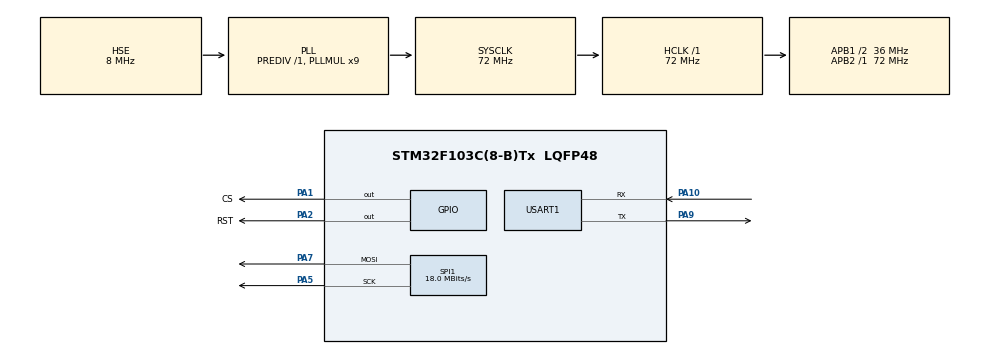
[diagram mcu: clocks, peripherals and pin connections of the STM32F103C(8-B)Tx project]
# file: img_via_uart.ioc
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Dma.Request0=SPI1_TX
Dma.SPI1_TX.0.Direction=DMA_MEMORY_TO_PERIPH
Dma.SPI1_TX.0.Instance=DMA1_Channel3
Dma.SPI1_TX.0.MemDataAlignment=DMA_MDATAALIGN_BYTE
Dma.SPI1_TX.0.MemInc=DMA_MINC_ENABLE
Dma.SPI1_TX.0.Mode=DMA_NORMAL
Dma.SPI1_TX.0.PeriphDataAlignment=DMA_PDATAALIGN_BYTE
Dma.SPI1_TX.0.PeriphInc=DMA_PINC_DISABLE
Dma.SPI1_TX.0.Priority=DMA_PRIORITY_LOW
Mcu.Family=STM32F1
Mcu.Name=STM32F103C(8-B)Tx
Mcu.Package=LQFP48
NVIC.DMA1_Channel3_IRQn=true\:0\:0\:false\:false\:true\:false\:true\:true
NVIC.PriorityGroup=NVIC_PRIORITYGROUP_4
NVIC.SPI1_IRQn=true\:0\:0\:false\:false\:true\:true\:true\:true
NVIC.USART1_IRQn=true\:0\:0\:false\:false\:true\:true\:true\:true
PA1.GPIO_Label=CS
PA1.Signal=GPIO_Output
PA10.Mode=Asynchronous
PA10.Signal=USART1_RX
PA13.Mode=Serial_Wire
PA13.Signal=SYS_JTMS-SWDIO
PA14.Mode=Serial_Wire
PA14.Signal=SYS_JTCK-SWCLK
PA2.GPIO_Label=RST
PA2.Signal=GPIO_Output
PA5.Mode=TX_Only_Simplex_Unidirect_Master
PA5.Signal=SPI1_SCK
PA7.Mode=TX_Only_Simplex_Unidirect_Master
PA7.Signal=SPI1_MOSI
PA9.Mode=Asynchronous
PA9.Signal=USART1_TX
PD0-OSC_IN.Mode=HSE-External-Oscillator
PD0-OSC_IN.Signal=RCC_OSC_IN
PD1-OSC_OUT.Mode=HSE-External-Oscillator
PD1-OSC_OUT.Signal=RCC_OSC_OUT
ProjectManager.HeapSize=0x200
ProjectManager.StackSize=0x400
ProjectManager.TargetToolchain=CMake
RCC.AHBFreq_Value=72000000
RCC.APB1CLKDivider=RCC_HCLK_DIV2
RCC.APB1Freq_Value=36000000
RCC.APB1TimFreq_Value=72000000
RCC.APB2Freq_Value=72000000
RCC.APB2TimFreq_Value=72000000
RCC.HCLKFreq_Value=72000000
RCC.PLLMUL=RCC_PLL_MUL9
RCC.PLLSourceVirtual=RCC_PLLSOURCE_HSE
RCC.SYSCLKFreq_VALUE=72000000
RCC.SYSCLKSource=RCC_SYSCLKSOURCE_PLLCLK
RCC.USBFreq_Value=72000000
SPI1.BaudRatePrescaler=SPI_BAUDRATEPRESCALER_4
SPI1.CLKPhase=SPI_PHASE_2EDGE
SPI1.CLKPolarity=SPI_POLARITY_HIGH
SPI1.CalculateBaudRate=18.0 MBits/s
SPI1.Direction=SPI_DIRECTION_2LINES
SPI1.Mode=SPI_MODE_MASTER
SPI1.VirtualType=VM_MASTER
USART1.VirtualMode=VM_ASYNC
board=custom

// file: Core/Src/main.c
/* USER CODE BEGIN Header */
/**
  ******************************************************************************
  * @file           : main.c
  * @brief          : Main program body
  ******************************************************************************
  * @attention
  *
  * Copyright (c) 2024 STMicroelectronics.
  * All rights reserved.
  *
  * This software is licensed under terms that can be found in the LICENSE file
  * in the root directory of this software component.
  * If no LICENSE file comes with this software, it is provided AS-IS.
  *
  ******************************************************************************
  */
/* USER CODE END Header */
#include "main.h"

/* USER CODE BEGIN Includes */

#include "ST7920_lib.h"
#include "logo.h"

extern char tx_buffer[128];

/* USER CODE END Includes */

SPI_HandleTypeDef hspi1;
DMA_HandleTypeDef hdma_spi1_tx;

UART_HandleTypeDef huart1;

/* USER CODE BEGIN PV */

uint8_t uart_rx_buffer[1024];
volatile bool should_draw = false;

/* USER CODE END PV */

void SystemClock_Config(void);
static void MX_GPIO_Init(void);
static void MX_DMA_Init(void);
static void MX_SPI1_Init(void);
static void MX_USART1_UART_Init(void);

/* USER CODE BEGIN 0 */

void clear_screen() {
  ST7920_Draw_rectangle_filled(0, 0, 127, 63);
}

void print_on_x_center(uint8_t y, const char *str) {
  int len = 0;
  const char *s = str;

  //Calculate UTF8-aware string length
  while (*s) {
    if ((*s & 0xC0) != 0x80) {
      len++;
    }

    s++;
  }

  sprintf(tx_buffer, "%s", str);
  ST7920_Decode_UTF8(64 - len * 3, y, 1, tx_buffer);
}

/* USER CODE END 0 */

int main(void)
{

  /* MCU Configuration--------------------------------------------------------*/

  /* Reset of all peripherals, Initializes the Flash interface and the Systick. */
  HAL_Init();

  /* Configure the system clock */
  SystemClock_Config();

  /* Initialize all configured peripherals */
  MX_GPIO_Init();
  MX_DMA_Init();
  MX_SPI1_Init();
  MX_USART1_UART_Init();
  /* USER CODE BEGIN 2 */

  HAL_Delay(100);
  ST7920_Init();
  ST7920_Graphic_mode(1);

  draw_logo();

  clear_screen();
  print_on_x_center(2, "Ожидание команд");
  print_on_x_center(3, "по UART");
  ST7920_Update();

  HAL_UART_Receive_IT(&huart1, uart_rx_buffer, 1024);

  /* USER CODE END 2 */

  /* Infinite loop */
  /* USER CODE BEGIN WHILE */
  while (1)
  {
	  if (should_draw) {
		  ST7920_Draw_bitmap(uart_rx_buffer);
		  should_draw = false;
		  HAL_UART_Receive_IT(&huart1, uart_rx_buffer, 1024);
	  }
    /* USER CODE END WHILE */

  }
}

void SystemClock_Config(void)
{
  RCC_OscInitTypeDef RCC_OscInitStruct = {0};
  RCC_ClkInitTypeDef RCC_ClkInitStruct = {0};

  /** Initializes the RCC Oscillators according to the specified parameters
  * in the RCC_OscInitTypeDef structure.
  */
  RCC_OscInitStruct.OscillatorType = RCC_OSCILLATORTYPE_HSE;
  RCC_OscInitStruct.HSEState = RCC_HSE_ON;
  RCC_OscInitStruct.HSEPredivValue = RCC_HSE_PREDIV_DIV1;
  RCC_OscInitStruct.HSIState = RCC_HSI_ON;
  RCC_OscInitStruct.PLL.PLLState = RCC_PLL_ON;
  RCC_OscInitStruct.PLL.PLLSource = RCC_PLLSOURCE_HSE;
  RCC_OscInitStruct.PLL.PLLMUL = RCC_PLL_MUL9;
  if (HAL_RCC_OscConfig(&RCC_OscInitStruct) != HAL_OK)
  {
    Error_Handler();
  }

  /** Initializes the CPU, AHB and APB buses clocks
  */
  RCC_ClkInitStruct.ClockType = RCC_CLOCKTYPE_HCLK|RCC_CLOCKTYPE_SYSCLK
                              |RCC_CLOCKTYPE_PCLK1|RCC_CLOCKTYPE_PCLK2;
  RCC_ClkInitStruct.SYSCLKSource = RCC_SYSCLKSOURCE_PLLCLK;
  RCC_ClkInitStruct.AHBCLKDivider = RCC_SYSCLK_DIV1;
  RCC_ClkInitStruct.APB1CLKDivider = RCC_HCLK_DIV2;
  RCC_ClkInitStruct.APB2CLKDivider = RCC_HCLK_DIV1;

  if (HAL_RCC_ClockConfig(&RCC_ClkInitStruct, FLASH_LATENCY_2) != HAL_OK)
  {
    Error_Handler();
  }
}

static void MX_SPI1_Init(void)
{

  /* SPI1 parameter configuration*/
  hspi1.Instance = SPI1;
  hspi1.Init.Mode = SPI_MODE_MASTER;
  hspi1.Init.Direction = SPI_DIRECTION_2LINES;
  hspi1.Init.DataSize = SPI_DATASIZE_8BIT;
  hspi1.Init.CLKPolarity = SPI_POLARITY_HIGH;
  hspi1.Init.CLKPhase = SPI_PHASE_2EDGE;
  hspi1.Init.NSS = SPI_NSS_SOFT;
  hspi1.Init.BaudRatePrescaler = SPI_BAUDRATEPRESCALER_4;
  hspi1.Init.FirstBit = SPI_FIRSTBIT_MSB;
  hspi1.Init.TIMode = SPI_TIMODE_DISABLE;
  hspi1.Init.CRCCalculation = SPI_CRCCALCULATION_DISABLE;
  hspi1.Init.CRCPolynomial = 10;
  if (HAL_SPI_Init(&hspi1) != HAL_OK)
  {
    Error_Handler();
  }

}

static void MX_USART1_UART_Init(void)
{

  huart1.Instance = USART1;
  huart1.Init.BaudRate = 115200;
  huart1.Init.WordLength = UART_WORDLENGTH_8B;
  huart1.Init.StopBits = UART_STOPBITS_1;
  huart1.Init.Parity = UART_PARITY_NONE;
  huart1.Init.Mode = UART_MODE_TX_RX;
  huart1.Init.HwFlowCtl = UART_HWCONTROL_NONE;
  huart1.Init.OverSampling = UART_OVERSAMPLING_16;
  if (HAL_UART_Init(&huart1) != HAL_OK)
  {
    Error_Handler();
  }

}

static void MX_DMA_Init(void)
{

  /* DMA controller clock enable */
  __HAL_RCC_DMA1_CLK_ENABLE();

  /* DMA interrupt init */
  /* DMA1_Channel3_IRQn interrupt configuration */
  HAL_NVIC_SetPriority(DMA1_Channel3_IRQn, 0, 0);
  HAL_NVIC_EnableIRQ(DMA1_Channel3_IRQn);

}

static void MX_GPIO_Init(void)
{
  GPIO_InitTypeDef GPIO_InitStruct = {0};

  /* GPIO Ports Clock Enable */
  __HAL_RCC_GPIOD_CLK_ENABLE();
  __HAL_RCC_GPIOA_CLK_ENABLE();

  /*Configure GPIO pin Output Level */
  HAL_GPIO_WritePin(GPIOA, CS_Pin|RST_Pin, GPIO_PIN_RESET);

  /*Configure GPIO pins : CS_Pin RST_Pin */
  GPIO_InitStruct.Pin = CS_Pin|RST_Pin;
  GPIO_InitStruct.Mode = GPIO_MODE_OUTPUT_PP;
  GPIO_InitStruct.Pull = GPIO_NOPULL;
  GPIO_InitStruct.Speed = GPIO_SPEED_FREQ_LOW;
  HAL_GPIO_Init(GPIOA, &GPIO_InitStruct);

}

/* USER CODE BEGIN 4 */

void HAL_UART_RxCpltCallback(UART_HandleTypeDef *huart)
{
	should_draw = true;
}

/* USER CODE END 4 */

void Error_Handler(void)
{
  __disable_irq();
  while (1)
  {
  }
}
